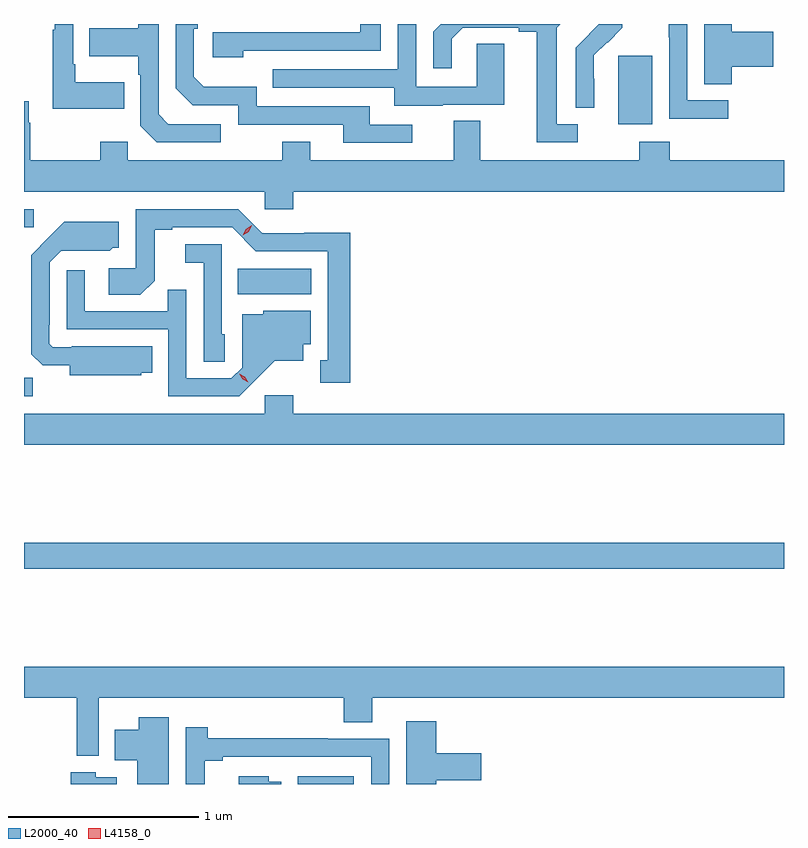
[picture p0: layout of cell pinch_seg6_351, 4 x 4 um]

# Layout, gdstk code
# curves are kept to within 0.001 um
import gdstk
lib = gdstk.Library(unit=1e-6, precision=1e-09)
def R(c, l, rs):  # rectangles x0, y0, x1, y1
    for r in rs: c.add(gdstk.rectangle(r[:2], r[2:], *l))
def P(c, l, *ps):  # polygons
    for p in ps: c.add(gdstk.Polygon(p, *l))
L2000_40 = (2000, 40)
L4158_0 = (4158, 0)

pinch_seg6_351 = lib.new_cell('pinch_seg6_351')
R(pinch_seg6_351, L2000_40, [(684.026,949.546,684.319,949.588), (682.584,950.68,686.584,950.816), (682.584,951.588,682.629,951.683), (683.71,952.124,684.097,952.258), (682.584,952.476,682.636,952.572), (685.712,953.018,685.891,953.379)])
P(pinch_seg6_351, L2000_40, [(686.29,953.145),(686.076,953.145),(686.076,953.546),(685.978,953.546),(685.978,953.476),(685.98,953.476),(685.98,953.047),(686.29,953.047)],
  [(685.498,953.019),(685.387,953.019),(685.387,953.527),(685.406,953.546),(684.778,953.546),(684.738,953.506),(684.738,953.313),(684.835,953.313),(684.835,953.469),(684.892,953.526),(685.187,953.526),(685.187,953.504),(685.283,953.504),(685.283,952.923),(685.498,952.923)],
  [(685.584,953.258),(685.583,953.381),(685.653,953.451),(685.656,953.448),(685.733,953.525),(685.733,953.546),(685.61,953.546),(685.488,953.422),(685.488,953.104),(685.584,953.104)],
  [(683.738,953.406),(684.462,953.406),(684.462,953.546),(684.353,953.546),(684.353,953.502),(683.577,953.502),(683.577,953.372),(683.738,953.372)],
  [(683.111,953.239),(682.855,953.239),(682.855,953.335),(682.842,953.335),(682.842,953.546),(682.745,953.546),(682.745,953.515),(682.734,953.515),(682.734,953.099),(683.111,953.099)],
  [(684.628,953.016),(684.403,953.016),(684.403,953.112),(683.808,953.112),(683.808,953.215),(683.531,953.215),(683.478,953.268),(683.478,953.522),(683.498,953.522),(683.498,953.546),(683.382,953.546),(683.382,953.208),(683.472,953.118),(683.712,953.118),(683.712,953.016),(684.263,953.016),(684.263,952.92),(684.628,952.92)],
  [(683.62,953.019),(683.343,953.019),(683.292,953.07),(683.292,953.546),(683.184,953.546),(683.184,953.523),(682.927,953.523),(682.927,953.375),(683.184,953.375),(683.184,953.279),(683.196,953.279),(683.196,953.01),(683.283,952.923),(683.62,952.923)],
  [(686.309,953.321),(686.527,953.321),(686.527,953.504),(686.309,953.504),(686.309,953.546),(686.165,953.546),(686.165,953.23),(686.309,953.23)],
  [(684.787,953.121),(685.111,953.121),(685.111,953.441),(684.966,953.441),(684.966,953.217),(684.648,953.217),(684.648,953.546),(684.552,953.546),(684.552,953.307),(683.893,953.307),(683.893,953.211),(684.533,953.211),(684.533,953.117),(684.787,953.117)],
  [(684.002,952.664),(686.584,952.664),(686.584,952.828),(685.982,952.828),(685.982,952.927),(685.822,952.927),(685.822,952.828),(684.985,952.828),(684.985,953.036),(684.845,953.036),(684.845,952.828),(684.091,952.828),(684.091,952.927),(683.944,952.927),(683.944,952.828),(683.13,952.828),(683.13,952.927),(682.984,952.927),(682.984,952.828),(682.617,952.828),(682.617,953.027),(682.609,953.027),(682.609,953.14),(682.584,953.14),(682.584,952.664),(683.85,952.664),(683.85,952.571),(684.002,952.571)],
  [(684.301,952.448),(684.06,952.448),(684.06,952.446),(683.838,952.446),(683.712,952.572),(683.172,952.572),(683.172,952.26),(683.031,952.26),(683.031,952.12),(683.195,952.12),(683.271,952.196),(683.271,952.464),(683.365,952.464),(683.365,952.476),(683.679,952.476),(683.805,952.35),(684.182,952.35),(684.182,951.777),(684.143,951.777),(684.143,951.657),(684.301,951.657)],
  [(683.202,951.71),(683.258,951.71),(683.258,951.85),(682.834,951.85),(682.834,951.846),(682.734,951.846),(682.716,951.864),(682.716,951.964),(682.719,951.964),(682.719,952.293),(682.779,952.353),(683.036,952.352),(683.052,952.368),(683.083,952.368),(683.083,952.504),(682.795,952.504),(682.623,952.33),(682.623,951.808),(682.682,951.749),(682.826,951.749),(682.826,951.698),(683.202,951.698)],
  [(683.64,951.912),(683.625,951.912),(683.625,952.386),(683.433,952.386),(683.433,952.289),(683.529,952.289),(683.529,951.769),(683.64,951.769)],
  [(683.8,951.671),(683.903,951.773),(684.055,951.773),(684.055,951.86),(684.094,951.86),(684.094,952.036),(683.844,952.036),(683.844,952.018),(683.733,952.018),(683.733,951.738),(683.676,951.681),(683.439,951.681),(683.439,952.148),(683.341,952.148),(683.341,952.035),(682.905,952.035),(682.905,952.249),(682.809,952.249),(682.809,951.939),(683.343,951.939),(683.343,951.588),(683.716,951.588)],
  [(686.584,951.496),(684.002,951.496),(684.002,951.592),(683.85,951.592),(683.85,951.496),(682.584,951.496),(682.584,951.332),(686.584,951.332)],
  [(682.977,950),(684.266,950),(684.266,949.87),(684.418,949.87),(684.418,950),(686.584,950),(686.584,950.164),(682.584,950.164),(682.584,950),(682.861,950),(682.861,949.694),(682.977,949.694)],
  [(683.347,949.897),(683.189,949.897),(683.189,949.831),(683.062,949.831),(683.062,949.67),(683.18,949.67),(683.18,949.546),(683.347,949.546)],
  [(684.755,949.565),(684.991,949.565),(684.991,949.707),(684.755,949.707),(684.755,949.876),(684.596,949.876),(684.596,949.546),(684.755,949.546)],
  [(683.534,949.669),(683.629,949.669),(683.629,949.689),(684.411,949.689),(684.411,949.546),(684.507,949.546),(684.507,949.785),(684.182,949.785),(684.182,949.787),(683.552,949.787),(683.552,949.846),(683.436,949.846),(683.436,949.546),(683.534,949.546)],
  [(683.071,949.582),(682.962,949.582),(682.962,949.609),(682.829,949.609),(682.829,949.546),(683.071,949.546)],
  [(683.938,949.558),(683.872,949.558),(683.872,949.588),(683.714,949.588),(683.714,949.546),(683.938,949.546)])
P(pinch_seg6_351, L4158_0, [(683.734,952.434),(683.734,952.434),(683.752,952.467),(683.783,952.486),(683.783,952.486),(683.783,952.486),(683.766,952.453),(683.735,952.434)],
  [(683.764,951.66),(683.734,951.675),(683.716,951.704),(683.716,951.705),(683.717,951.705),(683.747,951.69),(683.764,951.66),(683.764,951.66)])

lib.write_gds('pinch_seg6_351.gds')
